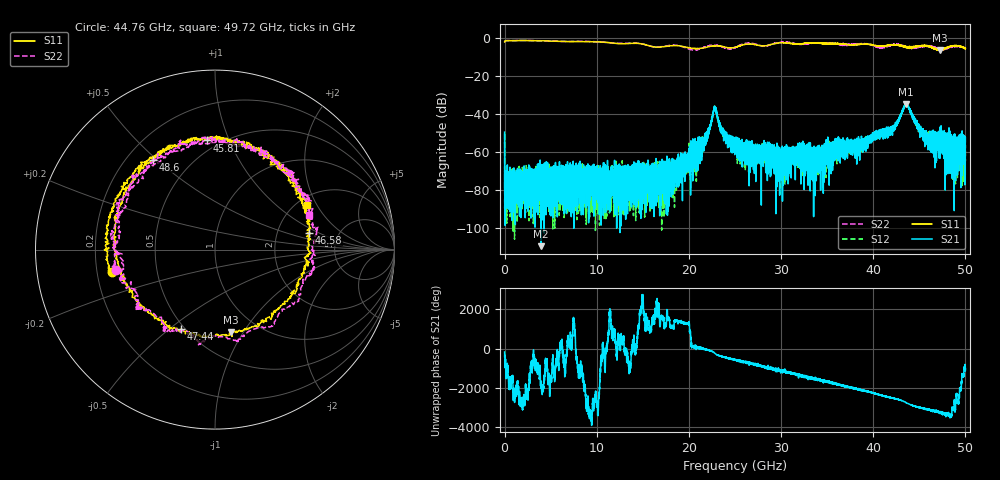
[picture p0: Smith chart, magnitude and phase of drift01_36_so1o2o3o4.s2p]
!Created with skrf (http://scikit-rf.org).
# Hz S RI R 50.0
!freq ReS11 ImS11 ReS21 ImS21 ReS12 ImS12 ReS22 ImS22
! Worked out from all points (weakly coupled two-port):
!   10001 points, 300 kHz to 50 GHz, reference 50 ohm
!   highest |S21| = -34.64 dB at 43.56 GHz (marker M1); lowest = -109.4 dB at 3.935 GHz (marker M2)
!   lowest |S11| = -6.6 dB at 47.21 GHz (marker M3), VSWR 2.76, Z = 37.6 - j44.2 ohm
!   |S11| at or under -10 dB: nowhere
!   |S22| runs from -6.4 to -1.4 dB; largest |S21 - S12| = 0.0053
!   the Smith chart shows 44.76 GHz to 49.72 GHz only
!   S11 on the Smith chart (normalised r, x): 44.76 GHz: 0.26, -0.10; 45.81 GHz: 0.43, +0.83; 46.58 GHz: 3.05, +0.81; 47.44 GHz: 0.48, -0.55; 48.6 GHz: 0.30, +0.49; 49.72 GHz: 2.24, +1.66
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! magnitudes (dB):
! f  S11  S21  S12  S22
! 300 kHz  -2.1  -49.5  -50.3  -2.1
! 280.3 MHz  -1.4  -82.6  -76.7  -1.4
! 3.935 GHz  -1.6  -109.4  -74.0  -1.5
! 8.335 GHz  -1.9  -71.1  -89.1  -1.8
! 16.67 GHz  -4.8  -69.9  -72.0  -4.8
! 20.97 GHz  -5.7  -59.5  -65.2  -6.1
! 22.02 GHz  -4.8  -49.4  -50.0  -4.4
! 22.8 GHz  -4.3  -36.3  -36.3  -4.0
! 23.75 GHz  -4.7  -49.7  -50.5  -5.0
! 25 GHz  -5.0  -53.3  -56.0  -5.1
! 29.62 GHz  -2.8  -58.3  -64.0  -2.5
! 33.34 GHz  -2.6  -61.4  -62.4  -2.6
! 41.67 GHz  -3.9  -48.2  -49.1  -4.4
! 43.56 GHz  -4.8  -34.6  -35.3  -4.8
! 44.76 GHz  -4.6  -43.9  -47.3  -5.0
! 45.81 GHz  -4.3  -52.0  -50.8  -4.4
! 46.58 GHz  -5.4  -55.1  -51.5  -4.8
! 47.21 GHz  -6.6  -53.3  -53.1  -5.9
! 47.44 GHz  -6.4  -50.4  -56.1  -5.7
! 48.6 GHz  -4.3  -55.4  -60.0  -4.7
! 49.72 GHz  -4.9  -56.1  -57.1  -5.1
! 50 GHz  -5.6  -52.6  -64.8  -5.3
